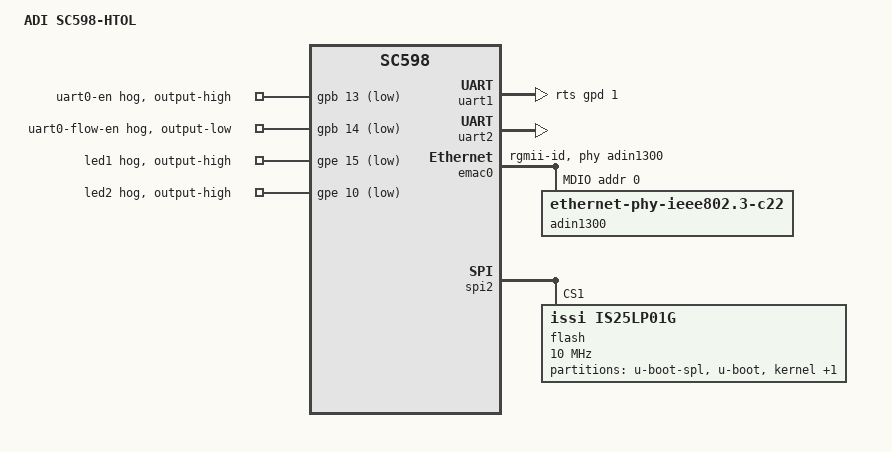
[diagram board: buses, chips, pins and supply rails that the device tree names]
// SPDX-License-Identifier: GPL-2.0-or-later
/*
 * (C) Copyright 2026 - Analog Devices, Inc.
 */

/dts-v1/;

#include "sc598-som.dtsi"

/ {
	model = "ADI SC598-HTOL";
	compatible = "adi,sc598-htol", "adi,sc59x-64";
};

&uart1 {
	pinctrl-names = "default";
	pinctrl-0 = <&uart1_default>;
	linux,rs485-enabled-at-boot-time;
	rs485-rts-active-low;
	rts-gpios = <&gpd 1 GPIO_ACTIVE_HIGH>;
	status = "okay";
};

&uart2 {
	pinctrl-names = "default";
	pinctrl-0 = <&uart2_default>;
	status = "okay";
};

&pinctrl {
	uart1_default: uart1-pins {
		pinmux = <SC598_PD04__UART1_RX
			  SC598_PD05__UART1_TX>;
	};

	uart2_default: uart2-pins {
		pinmux = <SC598_PB11__UART2_RX
			  SC598_PB12__UART2_TX>;
	};
};

&gpb {
	uart0-en-hog {
		gpio-hog;
		gpios = <13 GPIO_ACTIVE_LOW>;
		output-high;
		line-name = "uart0-en";
	};

	uart0-flow-en-hog {
		gpio-hog;
		gpios = <14 GPIO_ACTIVE_LOW>;
		output-low;
		line-name = "uart0-flow-en";
	};
};

&gpe {
	led1-hog {
		gpio-hog;
		gpios = <15 GPIO_ACTIVE_LOW>;
		output-high;
		line-name = "led1";
	};

	led2-hog {
		gpio-hog;
		gpios = <10 GPIO_ACTIVE_LOW>;
		output-high;
		line-name = "led2";
	};
};

&emac0 {
	phy-handle = <&adin1300>;
	phy-mode = "rgmii-id";
	pinctrl-names = "default";
	pinctrl-0 = <&eth0_default>;
	status = "okay";

	mdio0 {
		compatible = "snps,dwmac-mdio";
		#address-cells = <1>;
		#size-cells = <0>;

		adin1300: ethernet-phy@0 {
			compatible = "ethernet-phy-ieee802.3-c22";
			reg = <0>;
		};
	};
};

&mmc0 {
	status = "disabled";
};

&spi2 {
	flash@1 {
		#address-cells = <1>;
		#size-cells = <1>;
		compatible = "issi,is25lp01g", "jedec,spi-nor";
		reg = <1>;
		spi-tx-bus-width = <4>;
		spi-rx-bus-width = <4>;
		spi-max-frequency = <10000000>;

		partitions {
			compatible = "fixed-partitions";
			#address-cells = <1>;
			#size-cells = <1>;

			qspi_0@0 {
				label = "u-boot-spl";
				reg = <0x00000000 0x40000>;
			};

			qspi_1@40000 {
				label = "u-boot";
				reg = <0x00040000 0xC0000>;
			};

			qspi_2@100000 {
				label = "kernel";
				reg = <0x00100000 0x2000000>;
			};

			qspi_3@2100000 {
				label = "rootfs";
				reg = <0x02100000 0x5ef0000>;
			};
		};
	};
};
